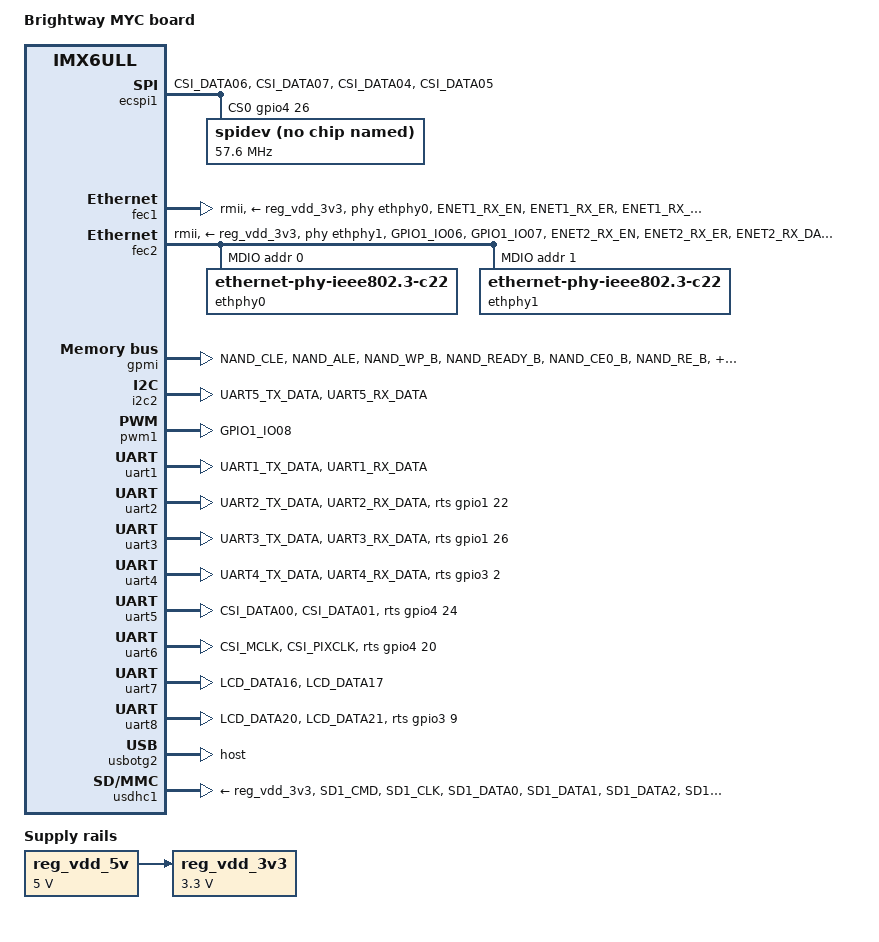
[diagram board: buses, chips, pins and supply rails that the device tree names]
// SPDX-License-Identifier: GPL-2.0
/*
 * Copyright (C) 2020 Linumiz
 * Author: Parthiban Nallathambi <parthiban@linumiz.com>
 */

/dts-v1/;
#include "imx6ull.dtsi"
#include <dt-bindings/gpio/gpio.h>
#include <dt-bindings/interrupt-controller/irq.h>
#include <dt-bindings/pwm/pwm.h>

/ {
	model = "Brightway MYC board";
	compatible = "fsl,imx6ull";

	chosen {
		stdout-path = &uart1;
	};

	reg_vdd_5v: regulator-vdd-5v {
		compatible = "regulator-fixed";
		regulator-name = "VDD_5V";
		regulator-min-microvolt = <5000000>;
		regulator-max-microvolt = <5000000>;
		regulator-always-on;
		regulator-boot-on;
	};

	reg_vdd_3v3: regulator-vdd-3v3 {
		compatible = "regulator-fixed";
		regulator-name = "VDD_3V3";
		regulator-min-microvolt = <3300000>;
		regulator-max-microvolt = <3300000>;
		regulator-always-on;
		vin-supply = <&reg_vdd_5v>;
	};
};

&ecspi1 {
	fsl,spi-num-chipselects = <1>;
	cs-gpios = <&gpio4 26 0>;
	pinctrl-names = "default";
	pinctrl-0 = <&pinctrl_ecspi1_1 &pinctrl_ecspi1_cs_1>;
	status = "okay";

	spidev@0{
		//compatible = "linux,spidev";
		compatible = "rohm,dh2228fv"; /* Same as "spidev" but without errors at boot. Search "buggy DT" to understand */
		reg = <0>;
		spi-max-frequency = <57600000>;
	};
};

&fec1 {
	pinctrl-names = "default";
	pinctrl-0 = <&pinctrl_enet1>, <&pinctrl_enet1_gpio>;
	phy-mode = "rmii";
	phy-handle = <&ethphy0>;
	phy-supply = <&reg_vdd_3v3>;
	//phy-reset-gpios = <&gpio5 9 GPIO_ACTIVE_LOW>;
	//phy-reset-duration = <26>;
	//phy-reset-post-delay=<20>;
	status = "okay";
};

&fec2 {
	pinctrl-names = "default";
	pinctrl-0 = <&pinctrl_enet2>, <&pinctrl_enet2_mdio>, <&pinctrl_enet2_gpio>;
	phy-mode = "rmii";
	phy-handle = <&ethphy1>;
	phy-supply = <&reg_vdd_3v3>;
	//phy-reset-gpios = <&gpio5 6 GPIO_ACTIVE_LOW>;
	//phy-reset-duration = <26>;
	//phy-reset-post-delay=<20>;
	status = "okay";

	mdio {
		#address-cells = <1>;
		#size-cells = <0>;

		ethphy0: ethernet-phy@0 {
			compatible = "ethernet-phy-ieee802.3-c22";
			reg = <0>;
		};
		ethphy1: ethernet-phy@1 {
			compatible = "ethernet-phy-ieee802.3-c22";
			reg = <1>;
		};
	};
};

&gpc {
	fsl,cpu_pupscr_sw2iso = <0x1>;
	fsl,cpu_pupscr_sw = <0x0>;
	fsl,cpu_pdnscr_iso2sw = <0x1>;
	fsl,cpu_pdnscr_iso = <0x1>;
	fsl,ldo-bypass = <0>; /* DCDC, ldo-enable */
};

&gpmi {
	pinctrl-names = "default";
	pinctrl-0 = <&pinctrl_gpmi_nand>;
	nand-on-flash-bbt;
	fsl,use-minimum-ecc;
	status = "okay";
};

&i2c2 {
	clock_frequency = <100000>;
	pinctrl-names = "default";
	pinctrl-0 = <&pinctrl_i2c2>;
	status = "okay";
};

&pwm1 {
	pinctrl-names = "default";
	pinctrl-0 = <&pinctrl_pwm1>;
	status = "okay";
};

&uart1 {
	pinctrl-names = "default";
	pinctrl-0 = <&pinctrl_uart1>;
	status = "okay";
};

&uart2 {
	pinctrl-names = "default";
	pinctrl-0 = <&pinctrl_uart2>;
	/*fsl,uart-has-rtscts;*/
	/* for DTE mode, add below change */
	/* fsl,dte-mode; */
	/* pinctrl-0 = <&pinctrl_uart2dte>; */
	rts-gpios = <&gpio1 22 GPIO_ACTIVE_HIGH>;
	linux,rs485-enabled-at-boot-time;
	status = "okay";
};

&uart3 {
	pinctrl-names = "default";
	pinctrl-0 = <&pinctrl_uart3>;
	rts-gpios = <&gpio1 26 GPIO_ACTIVE_HIGH>;
	linux,rs485-enabled-at-boot-time;
	status = "okay";
};

&uart4 {
	pinctrl-names = "default";
	pinctrl-0 = <&pinctrl_uart4>;
	rts-gpios = <&gpio3 2 GPIO_ACTIVE_HIGH>;
	linux,rs485-enabled-at-boot-time;
	status = "okay";
};

&uart5 {
	pinctrl-names = "default";
	pinctrl-0 = <&pinctrl_uart5>;
	rts-gpios = <&gpio4 24 GPIO_ACTIVE_HIGH>;
	linux,rs485-enabled-at-boot-time;
	status = "okay";
};

&uart6 {
	pinctrl-names = "default";
	pinctrl-0 = <&pinctrl_uart6>;
	rts-gpios = <&gpio4 20 GPIO_ACTIVE_HIGH>;
	linux,rs485-enabled-at-boot-time;
	status = "okay";
};

&uart7 {
	pinctrl-names = "default";
	pinctrl-0 = <&pinctrl_uart7>;
	status = "okay";
};

&uart8 {
	pinctrl-names = "default";
	pinctrl-0 = <&pinctrl_uart8>;
	rts-gpios = <&gpio3 9 GPIO_ACTIVE_HIGH>;
	linux,rs485-enabled-at-boot-time;
	status = "okay";
};

&usbotg1 {
	pinctrl-names = "default";
	pinctrl-0 = <&pinctrl_usb_otg1_id>;
	dr_mode = "otg";
	status = "disabled";
};

&usbotg2 {
	dr_mode = "host";
	disable-over-current;
	status = "okay";
};

&usdhc1 {
	pinctrl-names = "default", "state_100mhz", "state_200mhz";
	pinctrl-0 = <&pinctrl_usdhc1>;
	pinctrl-1 = <&pinctrl_usdhc1_100mhz>;
	pinctrl-2 = <&pinctrl_usdhc1_200mhz>;
	cd-gpios = <&gpio1 19 GPIO_ACTIVE_LOW>;
	no-1-8-v;
	keep-power-in-suspend;
	wakeup-source;
	vmmc-supply = <&reg_vdd_3v3>;
	status = "okay";
};

&usdhc2 {
	pinctrl-names = "default";
	pinctrl-0 = <&pinctrl_usdhc2>;
	pinctrl-1 = <&pinctrl_usdhc2_100mhz>;
	pinctrl-2 = <&pinctrl_usdhc2_200mhz>;
	bus-width = <8>;
	non-removable;
	keep-power-in-suspend;
	vmmc-supply = <&reg_vdd_3v3>;
	status = "disabled";
};

&wdog1 {
	pinctrl-names = "default";
	pinctrl-0 = <&pinctrl_wdog>;
	fsl,wdog_b;
};

&iomuxc {
	pinctrl-names = "default";
	pinctrl-0 = <&pinctrl_hog_1>;
	pinctrl_hog_1: hoggrp-1 {
		fsl,pins = <
			MX6UL_PAD_UART1_RTS_B__GPIO1_IO19          0x17059 /* SD1 CD */
			MX6UL_PAD_GPIO1_IO05__GPIO1_IO05           0x0001F0B0
			MX6UL_PAD_GPIO1_IO09__GPIO1_IO09           0x0001F0B0
			MX6UL_PAD_JTAG_MOD__GPIO1_IO10             0x0001F0B0
			MX6UL_PAD_JTAG_TCK__GPIO1_IO14             0x0001F0B0
			MX6UL_PAD_JTAG_TDI__GPIO1_IO13             0x0001F0B0
			MX6UL_PAD_JTAG_TDO__GPIO1_IO12             0x0001F0B0
			MX6UL_PAD_JTAG_TMS__GPIO1_IO11             0x0001F0B0
			MX6UL_PAD_JTAG_TRST_B__GPIO1_IO15          0x0001F0B0
			MX6UL_PAD_NAND_DQS__GPIO4_IO16             0x0001F0B0
			MX6UL_PAD_UART1_CTS_B__GPIO1_IO18          0x0001F0B0
			MX6UL_PAD_UART2_CTS_B__GPIO1_IO22          0x0001F0B0  // uart2 rts
			MX6UL_PAD_UART2_RTS_B__GPIO1_IO23          0x0001F0B0
			MX6UL_PAD_UART3_CTS_B__GPIO1_IO26          0x0001F0B0  // uart3 rts
			MX6UL_PAD_UART3_RTS_B__GPIO1_IO27          0x0001F0B0

			MX6UL_PAD_CSI_DATA02__GPIO4_IO23           0x0001F0B0
			MX6UL_PAD_CSI_DATA03__GPIO4_IO24           0x0001F0B0  // uart5 rts
			MX6UL_PAD_CSI_VSYNC__GPIO4_IO19            0x0001F0B0
			MX6UL_PAD_CSI_HSYNC__GPIO4_IO20            0x0001F0B0  // uart6 rts
			MX6UL_PAD_LCD_CLK__GPIO3_IO00              0x0001F0B0
			MX6UL_PAD_LCD_DATA00__GPIO3_IO05           0x0001F0B0
			MX6UL_PAD_LCD_DATA01__GPIO3_IO06           0x0001F0B0
			MX6UL_PAD_LCD_DATA02__GPIO3_IO07           0x0001F0B0
			MX6UL_PAD_LCD_DATA03__GPIO3_IO08           0x0001F0B0
			MX6UL_PAD_LCD_DATA04__GPIO3_IO09           0x0001F0B0  // uart8 rts
			MX6UL_PAD_LCD_DATA08__GPIO3_IO13           0x0001F0B0
			MX6UL_PAD_LCD_DATA09__GPIO3_IO14           0x0001F0B0
			MX6UL_PAD_LCD_DATA10__GPIO3_IO15           0x0001F0B0

			MX6UL_PAD_LCD_DATA12__GPIO3_IO17           0x0001F0B0
			MX6UL_PAD_LCD_DATA13__GPIO3_IO18           0x0001F0B0
			MX6UL_PAD_LCD_DATA14__GPIO3_IO19           0x0001F0B0

			MX6UL_PAD_LCD_DATA15__GPIO3_IO20           0x0001F0B0
			MX6UL_PAD_LCD_DATA18__GPIO3_IO23           0x0001F0B0
			MX6UL_PAD_LCD_DATA19__GPIO3_IO24           0x0001F0B0
			MX6UL_PAD_LCD_DATA22__GPIO3_IO27           0x0001F0B0
			MX6UL_PAD_LCD_DATA23__GPIO3_IO28           0x0001F0B0

			MX6UL_PAD_LCD_ENABLE__GPIO3_IO01           0x0001F0B0
			MX6UL_PAD_LCD_VSYNC__GPIO3_IO03            0x0001F0B0
			MX6UL_PAD_LCD_HSYNC__GPIO3_IO02            0x0001F0B0  // uart4 rts

			MX6UL_PAD_NAND_CE1_B__GPIO4_IO14           0x0001F0B0
		>;
	};

	pinctrl_enet1: enet1grp {
		fsl,pins = <
			MX6UL_PAD_ENET1_RX_EN__ENET1_RX_EN	0x1b0b0
			MX6UL_PAD_ENET1_RX_ER__ENET1_RX_ER	0x1b0b0
			MX6UL_PAD_ENET1_RX_DATA0__ENET1_RDATA00	0x1b0b0
			MX6UL_PAD_ENET1_RX_DATA1__ENET1_RDATA01	0x1b0b0
			MX6UL_PAD_ENET1_TX_EN__ENET1_TX_EN	0x1b0b0
			MX6UL_PAD_ENET1_TX_DATA0__ENET1_TDATA00	0x1b0b0
			MX6UL_PAD_ENET1_TX_DATA1__ENET1_TDATA01	0x1b0b0
			MX6UL_PAD_ENET1_TX_CLK__ENET1_REF_CLK1	0x4001b031
		>;
	};
	
	pinctrl_enet2: enet2grp {
		fsl,pins = <
			MX6UL_PAD_GPIO1_IO06__ENET2_MDIO	0x1b0b0
			MX6UL_PAD_GPIO1_IO07__ENET2_MDC		0x1b0b0
			MX6UL_PAD_ENET2_RX_EN__ENET2_RX_EN	0x1b0b0
			MX6UL_PAD_ENET2_RX_ER__ENET2_RX_ER	0x1b0b0
			MX6UL_PAD_ENET2_RX_DATA0__ENET2_RDATA00	0x1b0b0
			MX6UL_PAD_ENET2_RX_DATA1__ENET2_RDATA01	0x1b0b0
			MX6UL_PAD_ENET2_TX_EN__ENET2_TX_EN	0x1b0b0
			MX6UL_PAD_ENET2_TX_DATA0__ENET2_TDATA00	0x1b0b0
			MX6UL_PAD_ENET2_TX_DATA1__ENET2_TDATA01	0x1b0b0
			MX6UL_PAD_ENET2_TX_CLK__ENET2_REF_CLK2	0x4001b031
		>;
	};

	/*
		* The same pins GPIO1_IO6 and GPIO_IO7 are shared as the MII
		* bus of ENET1 and ENET2. If both interfaces are enabled, the
		* IOMUX of ENET2 will apply.
		* If only one interface is enabled, the IOMUX of the enabled
		* interface will apply.
		*/
	pinctrl_enet1_mdio: mdioenet1grp {
		fsl,pins = <
			MX6UL_PAD_GPIO1_IO07__ENET1_MDC		0x1b0b0
			MX6UL_PAD_GPIO1_IO06__ENET1_MDIO	0x1b0b0
		>;
	};

	pinctrl_enet2_mdio: mdioenet2grp {
		fsl,pins = <
			MX6UL_PAD_GPIO1_IO07__ENET2_MDC		0x1b0b0
			MX6UL_PAD_GPIO1_IO06__ENET2_MDIO	0x1b0b0
		>;
	};

	pinctrl_enet1_gpio: enet1gpiogrp {
		fsl,pins = <
			MX6UL_PAD_SNVS_TAMPER9__GPIO5_IO09     0x1b0b0
		>;
	};

	pinctrl_enet2_gpio: enet2gpiogrp {
		fsl,pins = <
			/* PHY reset */
			MX6UL_PAD_SNVS_TAMPER6__GPIO5_IO06	0x1b0b0
		>;
	};

	pinctrl_ecspi1_cs_1: ecspi1_cs_grp-1 {
		fsl,pins = <
			MX6UL_PAD_CSI_DATA05__GPIO4_IO26  0x10b0
		>;
	};

	pinctrl_ecspi1_1: ecspi1grp-1 {
		fsl,pins = <
			MX6UL_PAD_CSI_DATA06__ECSPI1_MOSI 0x10b0
			MX6UL_PAD_CSI_DATA07__ECSPI1_MISO 0x10b0
			MX6UL_PAD_CSI_DATA04__ECSPI1_SCLK 0x10b0
		>;
	};

	pinctrl_pwm1: pwm1grp {
		fsl,pins = <
			MX6UL_PAD_GPIO1_IO08__PWM1_OUT   0x1b0b1
		>;
	};

	pinctrl_gpmi_nand: gpminandgrp {
		fsl,pins = <
			MX6UL_PAD_NAND_CLE__RAWNAND_CLE		0x0b0b1
			MX6UL_PAD_NAND_ALE__RAWNAND_ALE		0x0b0b1
			MX6UL_PAD_NAND_WP_B__RAWNAND_WP_B	0x0b0b1
			MX6UL_PAD_NAND_READY_B__RAWNAND_READY_B	0x0b000
			MX6UL_PAD_NAND_CE0_B__RAWNAND_CE0_B	0x0b0b1
			MX6UL_PAD_NAND_RE_B__RAWNAND_RE_B	0x0b0b1
			MX6UL_PAD_NAND_WE_B__RAWNAND_WE_B	0x0b0b1
			MX6UL_PAD_NAND_DATA00__RAWNAND_DATA00	0x0b0b1
			MX6UL_PAD_NAND_DATA01__RAWNAND_DATA01	0x0b0b1
			MX6UL_PAD_NAND_DATA02__RAWNAND_DATA02	0x0b0b1
			MX6UL_PAD_NAND_DATA03__RAWNAND_DATA03	0x0b0b1
			MX6UL_PAD_NAND_DATA04__RAWNAND_DATA04	0x0b0b1
			MX6UL_PAD_NAND_DATA05__RAWNAND_DATA05	0x0b0b1
			MX6UL_PAD_NAND_DATA06__RAWNAND_DATA06	0x0b0b1
			MX6UL_PAD_NAND_DATA07__RAWNAND_DATA07	0x0b0b1
		>;
	};

	pinctrl_i2c2: i2c2grp {
		fsl,pins = <
			MX6UL_PAD_UART5_TX_DATA__I2C2_SCL 0x4001b8b0
			MX6UL_PAD_UART5_RX_DATA__I2C2_SDA 0x4001b8b0
		>;
	};

	pinctrl_uart1: uart1grp {
		fsl,pins = <
			MX6UL_PAD_UART1_TX_DATA__UART1_DCE_TX 0x1b0b1
			MX6UL_PAD_UART1_RX_DATA__UART1_DCE_RX 0x1b0b1
		>;
	};

	pinctrl_uart2: uart2grp {
		fsl,pins = <
			MX6UL_PAD_UART2_TX_DATA__UART2_DCE_TX	0x1b0b1
			MX6UL_PAD_UART2_RX_DATA__UART2_DCE_RX	0x1b0b1
		>;
	};

	pinctrl_uart3: uart3grp {
		fsl,pins = <
			MX6UL_PAD_UART3_TX_DATA__UART3_DCE_TX	0x1b0b1
			MX6UL_PAD_UART3_RX_DATA__UART3_DCE_RX	0x1b0b1
		>;
	};

	pinctrl_uart4: uart4grp {
		fsl,pins = <
			MX6UL_PAD_UART4_TX_DATA__UART4_DCE_TX	0x1b0b1
			MX6UL_PAD_UART4_RX_DATA__UART4_DCE_RX	0x1b0b1
		>;
	};


	pinctrl_uart5: uart5grp {
		fsl,pins = <
			MX6UL_PAD_CSI_DATA00__UART5_DCE_TX	0x1b0b1
			MX6UL_PAD_CSI_DATA01__UART5_DCE_RX	0x1b0b1
		>;
	};

	pinctrl_uart6: uart6grp {
		fsl,pins = <
			MX6UL_PAD_CSI_MCLK__UART6_DCE_TX	0x1b0b1
			MX6UL_PAD_CSI_PIXCLK__UART6_DCE_RX	0x1b0b1
		>;
	};

	pinctrl_uart7: uart7grp {
		fsl,pins = <
			MX6UL_PAD_LCD_DATA16__UART7_DCE_TX	0x1b0b1
			MX6UL_PAD_LCD_DATA17__UART7_DCE_RX	0x1b0b1
		>;
	};

	pinctrl_uart8: uart8grp {
		fsl,pins = <
			MX6UL_PAD_LCD_DATA20__UART8_DCE_TX	0x1b0b1
			MX6UL_PAD_LCD_DATA21__UART8_DCE_RX	0x1b0b1
		>;
	};

	pinctrl_uart2dte: uart2dtegrp {
		fsl,pins = <
			MX6UL_PAD_UART2_TX_DATA__UART2_DTE_RX	0x1b0b1
			MX6UL_PAD_UART2_RX_DATA__UART2_DTE_TX	0x1b0b1
			MX6UL_PAD_UART3_RX_DATA__UART2_DTE_CTS	0x1b0b1
			MX6UL_PAD_UART3_TX_DATA__UART2_DTE_RTS	0x1b0b1
		>;
	};

	pinctrl_usb_otg1_id: usbotg1idgrp {
		fsl,pins = <
			MX6UL_PAD_GPIO1_IO00__ANATOP_OTG1_ID	0x17059
		>;
	};

	pinctrl_usdhc1: usdhc1grp {
		fsl,pins = <
			MX6UL_PAD_SD1_CMD__USDHC1_CMD     0x17059
			MX6UL_PAD_SD1_CLK__USDHC1_CLK     0x10071
			MX6UL_PAD_SD1_DATA0__USDHC1_DATA0 0x17059
			MX6UL_PAD_SD1_DATA1__USDHC1_DATA1 0x17059
			MX6UL_PAD_SD1_DATA2__USDHC1_DATA2 0x17059
			MX6UL_PAD_SD1_DATA3__USDHC1_DATA3 0x17059
		>;
	};

	pinctrl_usdhc1_100mhz: usdhc1grp100mhz {
		fsl,pins = <
			MX6UL_PAD_SD1_CMD__USDHC1_CMD     0x170b9
			MX6UL_PAD_SD1_CLK__USDHC1_CLK     0x100b9
			MX6UL_PAD_SD1_DATA0__USDHC1_DATA0 0x170b9
			MX6UL_PAD_SD1_DATA1__USDHC1_DATA1 0x170b9
			MX6UL_PAD_SD1_DATA2__USDHC1_DATA2 0x170b9
			MX6UL_PAD_SD1_DATA3__USDHC1_DATA3 0x170b9
		>;
	};

	pinctrl_usdhc1_200mhz: usdhc1grp200mhz {
		fsl,pins = <
			MX6UL_PAD_SD1_CMD__USDHC1_CMD     0x170f9
			MX6UL_PAD_SD1_CLK__USDHC1_CLK     0x100f9
			MX6UL_PAD_SD1_DATA0__USDHC1_DATA0 0x170f9
			MX6UL_PAD_SD1_DATA1__USDHC1_DATA1 0x170f9
			MX6UL_PAD_SD1_DATA2__USDHC1_DATA2 0x170f9
			MX6UL_PAD_SD1_DATA3__USDHC1_DATA3 0x170f9
		>;
	};

	pinctrl_usdhc2: usdhc2grp {
		fsl,pins = <
			MX6UL_PAD_NAND_RE_B__USDHC2_CLK     0x10069
			MX6UL_PAD_NAND_WE_B__USDHC2_CMD     0x17059
			MX6UL_PAD_NAND_DATA00__USDHC2_DATA0 0x17059
			MX6UL_PAD_NAND_DATA01__USDHC2_DATA1 0x17059
			MX6UL_PAD_NAND_DATA02__USDHC2_DATA2 0x17059
			MX6UL_PAD_NAND_DATA03__USDHC2_DATA3 0x17059
		>;
	};

	pinctrl_usdhc2_100mhz: usdhc2grp100mhz {
		fsl,pins = <
			MX6UL_PAD_NAND_RE_B__USDHC2_CLK		0x100b9
			MX6UL_PAD_NAND_WE_B__USDHC2_CMD		0x170b9
			MX6UL_PAD_NAND_DATA00__USDHC2_DATA0	0x170b9
			MX6UL_PAD_NAND_DATA01__USDHC2_DATA1	0x170b9
			MX6UL_PAD_NAND_DATA02__USDHC2_DATA2	0x170b9
			MX6UL_PAD_NAND_DATA03__USDHC2_DATA3	0x170b9
			MX6UL_PAD_NAND_DATA04__USDHC2_DATA4	0x170b9
			MX6UL_PAD_NAND_DATA05__USDHC2_DATA5	0x170b9
			MX6UL_PAD_NAND_DATA06__USDHC2_DATA6	0x170b9
			MX6UL_PAD_NAND_DATA07__USDHC2_DATA7	0x170b9
		>;
	};

	pinctrl_usdhc2_200mhz: usdhc2grp200mhz {
		fsl,pins = <
			MX6UL_PAD_NAND_RE_B__USDHC2_CLK		0x100f9
			MX6UL_PAD_NAND_WE_B__USDHC2_CMD		0x170f9
			MX6UL_PAD_NAND_DATA00__USDHC2_DATA0	0x170f9
			MX6UL_PAD_NAND_DATA01__USDHC2_DATA1	0x170f9
			MX6UL_PAD_NAND_DATA02__USDHC2_DATA2	0x170f9
			MX6UL_PAD_NAND_DATA03__USDHC2_DATA3	0x170f9
			MX6UL_PAD_NAND_DATA04__USDHC2_DATA4	0x170f9
			MX6UL_PAD_NAND_DATA05__USDHC2_DATA5	0x170f9
			MX6UL_PAD_NAND_DATA06__USDHC2_DATA6	0x170f9
			MX6UL_PAD_NAND_DATA07__USDHC2_DATA7	0x170f9
		>;
	};

	pinctrl_wdog: wdoggrp {
		fsl,pins = <
			MX6UL_PAD_LCD_RESET__WDOG1_WDOG_ANY    0x30b0
		>;
	};
};
